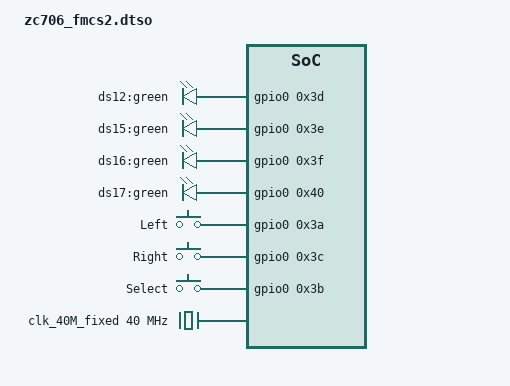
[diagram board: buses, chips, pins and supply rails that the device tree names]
/dts-v1/;
/plugin/;

/{
    // Add board specific clocks
    fragment@0{
        target = <&clocks>;
        __overlay__{
            clk_40M_fixed: clock@0 {
                #clock-cells = <0x0>;
                compatible = "fixed-clock";
                clock-frequency = <40000000>;
                clock-output-names = "ad9361_ext_refclk";
            };
        };
    };

    // Set clock in ad9361_phy
    fragment@1{
        target = <&ad9361_phy>;
        __overlay__{
            clocks = <&clk_40M_fixed 0x0>;
            adi,dcxo-coarse-and-fine-tune = <0x8 0x1720>;
        };
    };

    fragment@2{
        target-path = "/";
        __overlay__{
            leds {
                compatible = "gpio-leds";

                ds8 {
                    label = "ds12:green";
                    gpios = <&gpio0 0x3d 0x0>;
                    //gpios = <0x6 7 0x0>;//according to zc706 board, do not know why real gpio_bd[7] here becomes 0x3d
                    default-state = "off";
                };

                ds9 {
                    label = "ds15:green";
                    gpios = <&gpio0 0x3e 0x0>;
                    //gpios = <0x6 8 0x0>;//according to zc706 board, do not know why real gpio_bd[7] here becomes 0x3e
                    default-state = "off";
                };

                ds10 {
                    label = "ds16:green";
                    gpios = <&gpio0 0x3f 0x0>;
                    //gpios = <0x6 9 0x0>;//according to zc706 board, do not know why real gpio_bd[7] here becomes 0x3f
                    default-state = "off";
                };

                ds35 {
                    label = "ds17:green";
                    gpios = <&gpio0 0x40 0x0>;
                    //gpios = <0x6 10 0x0>;//according to zc706 board, do not know why real gpio_bd[7] here becomes 0x40
                    default-state = "on";
                };
            };

            gpio_keys {
                compatible = "gpio-keys";
                #address-cells = <0x1>;
                #size-cells = <0x0>;
                autorepeat;

                sw7 {
                    label = "Left";
                    linux,code = <0x69>;
                    gpios = <&gpio0 0x3a 0x0>;
                };

                sw8 {
                    label = "Right";
                    linux,code = <0x6a>;
                    gpios = <&gpio0 0x3c 0x0>;
                };

                sw9 {
                    label = "Select";
                    linux,code = <0x1c>;
                    gpios = <&gpio0 0x3b 0x0>;
                };
            };
        };
    };
};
